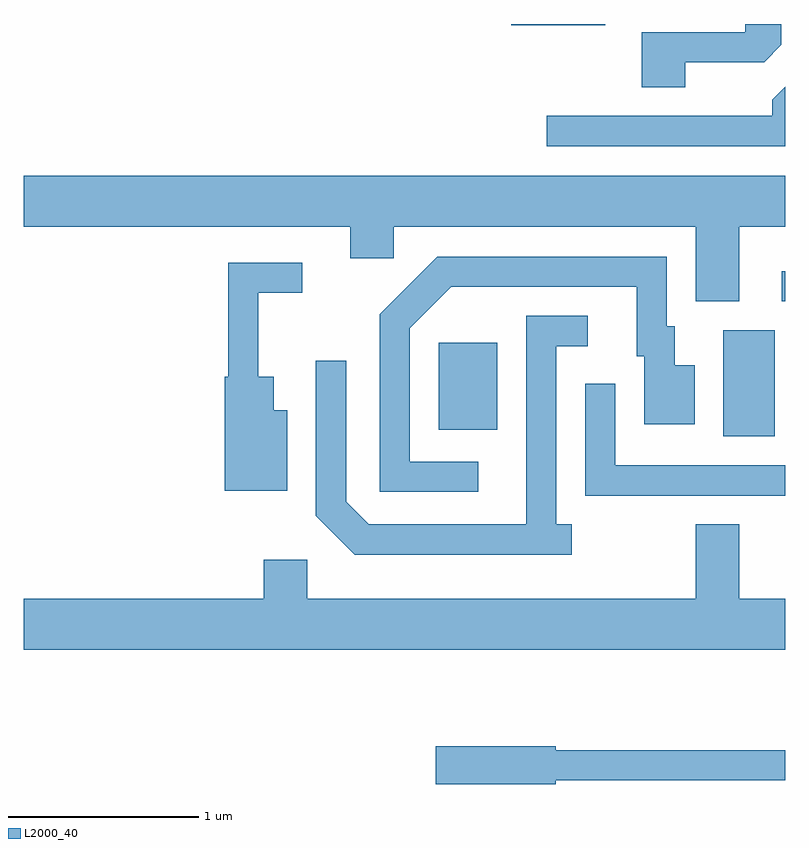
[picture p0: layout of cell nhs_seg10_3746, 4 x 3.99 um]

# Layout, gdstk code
import gdstk
lib = gdstk.Library(unit=1e-6, precision=1e-09)
def R(c, l, rs):  # rectangles x0, y0, x1, y1
    for r in rs: c.add(gdstk.rectangle(r[:2], r[2:], *l))
def P(c, l, *ps):  # polygons
    for p in ps: c.add(gdstk.Polygon(p, *l))
L2000_40 = (2000, 40)

nhs_seg10_3746 = lib.new_cell('nhs_seg10_3746')
R(nhs_seg10_3746, L2000_40, [(299.286,2128.356,299.554,2128.914), (297.791,2128.391,298.099,2128.849), (299.593,2129.066,299.611,2129.224), (298.171,2130.516,298.664,2130.522)])
P(nhs_seg10_3746, L2000_40, [(299.084,2130.321),(299.499,2130.321),(299.589,2130.412),(299.589,2130.522),(299.401,2130.522),(299.401,2130.479),(298.856,2130.479),(298.856,2130.191),(299.084,2130.191)],
  [(299.611,2130.193),(299.541,2130.124),(299.541,2130.039),(298.358,2130.039),(298.358,2129.881),(299.611,2129.881)],
  [(299.369,2129.456),(299.611,2129.456),(299.611,2129.724),(295.611,2129.724),(295.611,2129.456),(297.326,2129.456),(297.326,2129.291),(297.554,2129.291),(297.554,2129.456),(299.141,2129.456),(299.141,2129.066),(299.369,2129.066)],
  [(297.998,2128.224),(297.639,2128.224),(297.639,2128.924),(297.857,2129.141),(298.831,2129.141),(298.831,2128.776),(298.871,2128.776),(298.871,2128.421),(299.134,2128.421),(299.134,2128.729),(299.029,2128.729),(299.029,2128.934),(298.989,2128.934),(298.989,2129.299),(297.784,2129.299),(297.481,2128.997),(297.481,2128.066),(297.998,2128.066)],
  [(296.994,2128.494),(296.924,2128.494),(296.924,2128.669),(296.844,2128.669),(296.844,2129.111),(297.073,2129.111),(297.073,2129.269),(296.686,2129.269),(296.686,2128.669),(296.666,2128.669),(296.666,2128.071),(296.994,2128.071)],
  [(298.488,2127.894),(298.409,2127.894),(298.409,2128.831),(298.573,2128.831),(298.573,2128.989),(298.251,2128.989),(298.251,2127.894),(297.422,2127.894),(297.304,2128.012),(297.304,2128.753),(297.146,2128.753),(297.146,2127.939),(297.349,2127.736),(298.488,2127.736)],
  [(299.611,2128.204),(298.719,2128.204),(298.719,2128.633),(298.561,2128.633),(298.561,2128.046),(299.611,2128.046)],
  [(299.611,2127.504),(299.369,2127.504),(299.369,2127.894),(299.141,2127.894),(299.141,2127.504),(297.099,2127.504),(297.099,2127.709),(296.871,2127.709),(296.871,2127.504),(295.611,2127.504),(295.611,2127.236),(299.611,2127.236)],
  [(298.404,2126.551),(299.611,2126.551),(299.611,2126.709),(298.404,2126.709),(298.404,2126.729),(297.776,2126.729),(297.776,2126.531),(298.404,2126.531)])

lib.write_gds('nhs_seg10_3746.gds')
